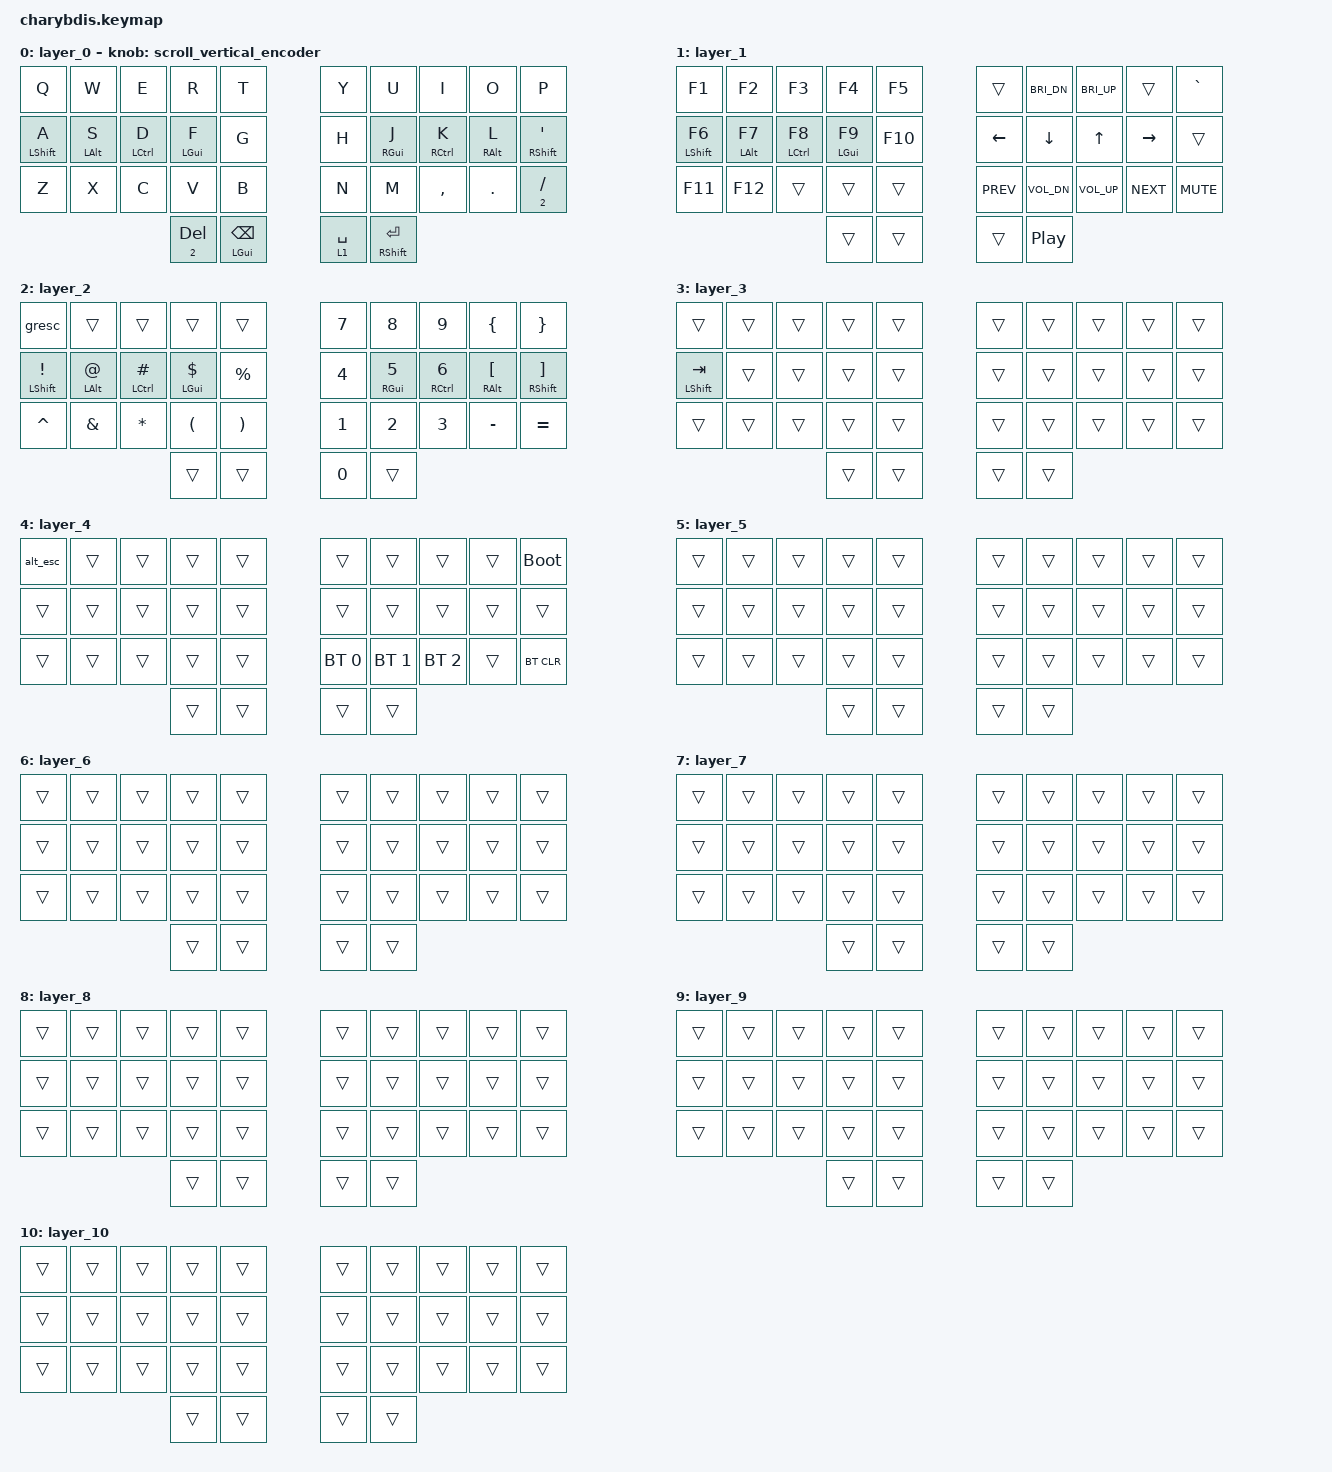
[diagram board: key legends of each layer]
#include <dt-bindings/zmk/mouse.h>
#include <input/processors.dtsi>
#include <zephyr/dt-bindings/input/input-event-codes.h>
#include <behaviors.dtsi>
#include <dt-bindings/zmk/bt.h>
#include <dt-bindings/zmk/keys.h>
#include <dt-bindings/zmk/pointing.h>

#define ZMK_POINTING_DEFAULT_MOVE_VAL 1000 // 600
#define ZMK_POINTING_DEFAULT_SCRL_VAL 12   // 10

// Key positions in the 34-key layout, for positional hold-tap.
#define KEYS_L 0 1 2 3 4 10 11 12 13 14 20 21 22 23 24
#define KEYS_R 5 6 7 8 9 15 16 17 18 19 25 26 27 28 29
#define THUMBS 30 31 32 33

&lt {
    tapping-term-ms = <200>;
    flavor = "balanced";
    quick-tap-ms = <150>;
};

&mmv_input_listener { input-processors = <&zip_xy_scaler 2 1>; };

&msc_input_listener { input-processors = <&zip_scroll_scaler 2 1>; };

&msc {
    acceleration-exponent = <0>;      // 0
    time-to-max-speed-ms = <100>;       // 300
    delay-ms = <0>;                   // 0
};

&mmv {
    time-to-max-speed-ms = <500>;
    acceleration-exponent = <1>;
    trigger-period-ms = <16>;
};

/ {
    // 上下滚动编码器行为

    scroll_vertical_encoder: scroll_vertical_encoder {
        compatible = "zmk,behavior-sensor-rotate";
        #sensor-binding-cells = <0>;
        bindings = <&msc SCRL_DOWN>, <&msc SCRL_UP>;

        tap-ms = <100>;
    };

    // 左右滚动编码器行为

    scroll_horizontal_encoder: scroll_horizontal_encoder {
        compatible = "zmk,behavior-sensor-rotate";
        #sensor-binding-cells = <0>;
        bindings = <&msc SCRL_LEFT>, <&msc SCRL_RIGHT>;

        tap-ms = <100>;
    };

    behaviors {
        // Home row mods tuned against misfires while typing fast:
        // - require-prior-idle-ms: a key pressed within 150 ms of the previous key is always a tap.
        // - hold-trigger-key-positions: a hold only resolves when the next key is on the
        //   other hand (or a thumb), so same-hand rolls like "as" or "df" stay letters.
        // - hold-trigger-on-release: lets you stack several same-hand mods (e.g. Ctrl+Shift).
        hml: home_row_mod_left {
            compatible = "zmk,behavior-hold-tap";
            display-name = "Home Row Mod Left";
            #binding-cells = <2>;
            bindings = <&kp>, <&kp>;
            flavor = "balanced";
            tapping-term-ms = <280>;
            quick-tap-ms = <175>;
            require-prior-idle-ms = <150>;
            hold-trigger-key-positions = <KEYS_R THUMBS>;
            hold-trigger-on-release;
        };

        hmr: home_row_mod_right {
            compatible = "zmk,behavior-hold-tap";
            display-name = "Home Row Mod Right";
            #binding-cells = <2>;
            bindings = <&kp>, <&kp>;
            flavor = "balanced";
            tapping-term-ms = <280>;
            quick-tap-ms = <175>;
            require-prior-idle-ms = <150>;
            hold-trigger-key-positions = <KEYS_L THUMBS>;
            hold-trigger-on-release;
        };

        // Alt+Esc that hides a held Ctrl, so it stays Alt+Esc after the L2
        // Ctrl+Tab combos.
        alt_esc: alt_esc {
            compatible = "zmk,behavior-mod-morph";
            display-name = "Alt+Esc (no Ctrl)";
            #binding-cells = <0>;
            bindings = <&kp LA(ESC)>, <&kp LA(ESC)>;
            mods = <(MOD_LCTL|MOD_RCTL)>;
        };

        // L2 layer-tap for Del and /. Same timing as &lt. Releasing it also
        // releases the Ctrl that the L2 Ctrl+Tab combos press.
        lt_ctrl: layer_tap_release_ctrl {
            compatible = "zmk,behavior-hold-tap";
            display-name = "Layer-Tap (releases Ctrl)";
            #binding-cells = <2>;
            bindings = <&mo_release_ctrl>, <&kp>;
            flavor = "balanced";
            tapping-term-ms = <200>;
            quick-tap-ms = <150>;
        };

        // ponytail: releases LCTRL unconditionally. With no Ctrl held it is a no-op,
        // but a home-row Ctrl (D) held across the L2 release drops early.
        mo_release_ctrl: momentary_layer_release_ctrl {
            compatible = "zmk,behavior-macro-one-param";
            display-name = "Layer, then release Ctrl";
            #binding-cells = <1>;
            wait-ms = <0>;
            tap-ms = <0>;
            bindings
                = <&macro_param_1to1 &macro_press &mo MACRO_PLACEHOLDER>
                , <&macro_pause_for_release>
                , <&macro_param_1to1 &macro_release &mo MACRO_PLACEHOLDER &kp LCTRL>
                ;
        };

        // Presses Ctrl (left held) and taps the given key.
        ctrl_then_tap: press_ctrl_then_tap {
            compatible = "zmk,behavior-macro-one-param";
            display-name = "Hold Ctrl, tap key";
            #binding-cells = <1>;
            bindings
                = <&macro_press &kp LCTRL>
                , <&macro_param_1to1 &macro_tap &kp MACRO_PLACEHOLDER>
                ;
        };

        // First press holds Ctrl and taps Tab. While Ctrl is held, later presses
        // only tap Tab, so Ctrl stays down until the L2 key is released.
        ctrl_tab: ctrl_tab_cycle {
            compatible = "zmk,behavior-mod-morph";
            display-name = "Ctrl+Tab (holds Ctrl)";
            #binding-cells = <0>;
            bindings = <&ctrl_then_tap TAB>, <&kp TAB>;
            mods = <(MOD_LCTL|MOD_RCTL)>;
            keep-mods = <(MOD_LCTL|MOD_RCTL)>;
        };

        ctrl_shift_tab: ctrl_shift_tab_cycle {
            compatible = "zmk,behavior-mod-morph";
            display-name = "Ctrl+Shift+Tab (holds Ctrl)";
            #binding-cells = <0>;
            bindings = <&ctrl_then_tap LS(TAB)>, <&kp LS(TAB)>;
            mods = <(MOD_LCTL|MOD_RCTL)>;
            keep-mods = <(MOD_LCTL|MOD_RCTL)>;
        };
    };

    combos {
        compatible = "zmk,combos";

        // Hold both right thumb keys (Space/L1 and Enter/Shift) together for layer 4
        // (Bluetooth, bootloader). Press them within 50 ms of each other.
        // require-prior-idle-ms: a Space-then-Shift roll while typing never fires it.
        right_thumbs_layer: right_thumbs_layer {
            key-positions = <32 33>;
            bindings = <&mo 4>;
            require-prior-idle-ms = <150>;
        };

        // Q+W together for Tab. No English word contains "qw", so typing never
        // triggers it. No require-prior-idle-ms: Tab right after typing must work.
        // ponytail: lists every layer with bindings except L2; add new layers here.
        tab_combo: tab_combo {
            key-positions = <0 1>;
            bindings = <&kp TAB>;
            layers = <0 1 3 4>;
        };

        // Q+W+E together for Shift+Tab, on the same layers as tab_combo.
        // Q+W now waits up to 50 ms for E before sending Tab.
        shift_tab_combo: shift_tab_combo {
            key-positions = <0 1 2>;
            bindings = <&kp LS(TAB)>;
            layers = <0 1 3 4>;
        };

        // Hold Del (L2), then Q+W for Ctrl+Tab or Q+W+E for Ctrl+Shift+Tab.
        // Ctrl stays held until Del is released. Q+W waits up to 50 ms for E.
        ctrl_tab_combo: ctrl_tab_combo {
            key-positions = <0 1>;
            bindings = <&ctrl_tab>;
            layers = <2>;
        };

        ctrl_shift_tab_combo: ctrl_shift_tab_combo {
            key-positions = <0 1 2>;
            bindings = <&ctrl_shift_tab>;
            layers = <2>;
        };

        // Hold Del (L2), then Q+W+E+R for Alt+Esc.
        alt_esc_combo: alt_esc_combo {
            key-positions = <0 1 2 3>;
            bindings = <&alt_esc>;
            layers = <2>;
        };

        // L+' together for ; (thumb Shift + L+' for :). The base key is '.
        // Order does not matter. The 30 ms window, shorter than the 50 ms
        // default, is meant to keep "'ll" rolls (I'll, we'll) as letters.
        // No require-prior-idle-ms: ; right after typing, as in "foo();", must work.
        // Layer 0 only: on layer 2 these keys are [ and ].
        semicolon_combo: semicolon_combo {
            key-positions = <18 19>;
            bindings = <&kp SEMI>;
            layers = <0>;
            timeout-ms = <30>;
        };
    };

    keymap {
        compatible = "zmk,keymap";

        layer_0 {
            bindings = <
&kp Q           &kp W         &kp E           &kp R           &kp T    &kp Y        &kp U           &kp I           &kp O          &kp P
&hml LSHIFT A   &hml LALT S   &hml LCTRL D    &hml LGUI F     &kp G    &kp H        &hmr RGUI J     &hmr RCTRL K    &hmr RALT L    &hmr RSHIFT SQT
&kp Z           &kp X         &kp C           &kp V           &kp B    &kp N        &kp M           &kp COMMA       &kp DOT        &lt_ctrl 2 SLASH
                                              &lt_ctrl 2 DEL  &mt LGUI BSPC     &lt 1 SPACE  &mt RSHIFT ENTER
            >;

            sensor-bindings = <&scroll_vertical_encoder>;

            // 编码器1：上下滚动,,
        };

        layer_1 {
            bindings = <
&kp F1   &kp F2   &kp F3  &kp F4  &kp F5     &trans     &kp C_BRI_DN  &kp C_BRI_UP  &trans      &kp GRAVE
&hml LSHIFT F6  &hml LALT F7  &hml LCTRL F8  &hml LGUI F9  &kp F10    &kp LEFT   &kp DOWN  &kp UP  &kp RIGHT  &trans
&kp F11  &kp F12  &trans  &trans  &trans     &kp C_PREV &kp K_VOL_DN  &kp K_VOL_UP  &kp C_NEXT  &kp K_MUTE
                          &trans  &trans     &trans     &kp C_PP
            >;
        };

        layer_2 {
            bindings = <
&gresc     &trans   &trans    &trans     &trans       &kp N7  &kp N8  &kp N9  &kp LBRC   &kp RBRC
&hml LSHIFT EXCL  &hml LALT AT  &hml LCTRL HASH  &hml LGUI DLLR  &kp PRCNT    &kp N4  &hmr RGUI N5  &hmr RCTRL N6  &hmr RALT LBKT  &hmr RSHIFT RBKT
&kp CARET  &kp AMPS &kp ASTRK &kp LPAR   &kp RPAR     &kp N1  &kp N2  &kp N3  &kp MINUS  &kp EQUAL
                           &trans   &trans     &kp N0  &trans
            >;
        };

        layer_3 {
            bindings = <
&trans     &trans  &trans  &trans  &trans    &trans  &trans  &trans  &trans  &trans
&hml LSHIFT TAB  &trans  &trans  &trans  &trans    &trans  &trans  &trans  &trans  &trans
&trans     &trans  &trans  &trans  &trans    &trans  &trans  &trans  &trans  &trans
                           &trans  &trans    &trans  &trans
            >;
        };

        layer_4 {
            bindings = <
&alt_esc     &trans  &trans  &trans  &trans    &trans         &trans         &trans         &trans  &bootloader
&trans       &trans  &trans  &trans  &trans    &trans         &trans         &trans         &trans  &trans
&trans       &trans  &trans  &trans  &trans    &bt BT_SEL 0   &bt BT_SEL 1   &bt BT_SEL 2   &trans  &bt BT_CLR
                        &trans  &trans    &trans         &trans
            >;
        };

        layer_5 {
            bindings = <
&trans  &trans  &trans  &trans  &trans    &trans  &trans  &trans  &trans  &trans
&trans  &trans  &trans  &trans  &trans    &trans  &trans  &trans  &trans  &trans
&trans  &trans  &trans  &trans  &trans    &trans  &trans  &trans  &trans  &trans
                        &trans  &trans    &trans  &trans
            >;
        };

        layer_6 {
            bindings = <
&trans  &trans  &trans  &trans  &trans    &trans  &trans  &trans  &trans  &trans
&trans  &trans  &trans  &trans  &trans    &trans  &trans  &trans  &trans  &trans
&trans  &trans  &trans  &trans  &trans    &trans  &trans  &trans  &trans  &trans
                        &trans  &trans    &trans  &trans
            >;
        };

        layer_7 {
            bindings = <
&trans  &trans  &trans  &trans  &trans    &trans  &trans  &trans  &trans  &trans
&trans  &trans  &trans  &trans  &trans    &trans  &trans  &trans  &trans  &trans
&trans  &trans  &trans  &trans  &trans    &trans  &trans  &trans  &trans  &trans
                        &trans  &trans    &trans  &trans
            >;
        };

        layer_8 {
            bindings = <
&trans  &trans  &trans  &trans  &trans    &trans  &trans  &trans  &trans  &trans
&trans  &trans  &trans  &trans  &trans    &trans  &trans  &trans  &trans  &trans
&trans  &trans  &trans  &trans  &trans    &trans  &trans  &trans  &trans  &trans
                        &trans  &trans    &trans  &trans
            >;
        };

        layer_9 {
            bindings = <
&trans  &trans  &trans  &trans  &trans    &trans  &trans  &trans  &trans  &trans
&trans  &trans  &trans  &trans  &trans    &trans  &trans  &trans  &trans  &trans
&trans  &trans  &trans  &trans  &trans    &trans  &trans  &trans  &trans  &trans
                        &trans  &trans    &trans  &trans
            >;
        };

        layer_10 {
            bindings = <
&trans  &trans  &trans  &trans  &trans    &trans  &trans  &trans  &trans  &trans
&trans  &trans  &trans  &trans  &trans    &trans  &trans  &trans  &trans  &trans
&trans  &trans  &trans  &trans  &trans    &trans  &trans  &trans  &trans  &trans
                        &trans  &trans    &trans  &trans
            >;
        };
    };
};
